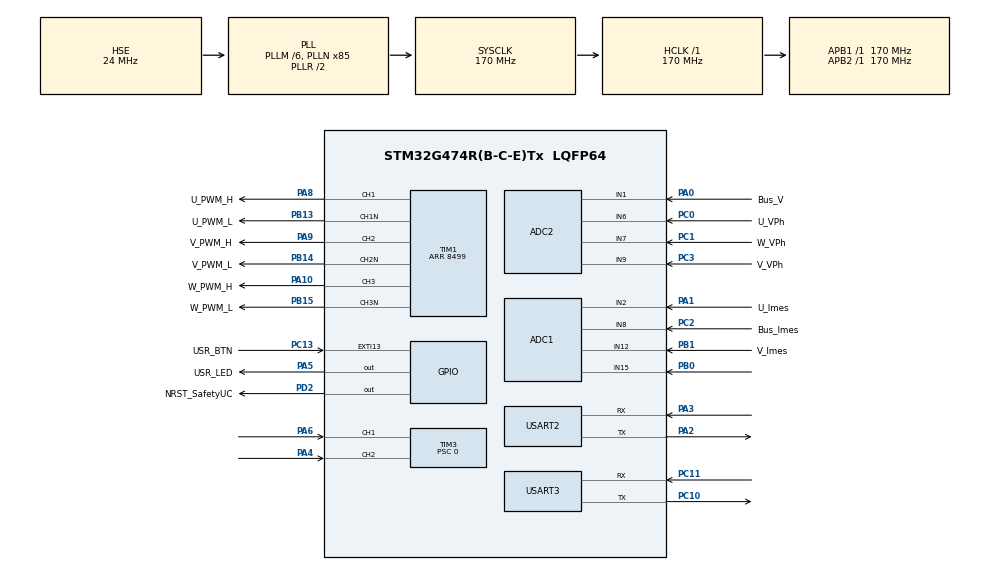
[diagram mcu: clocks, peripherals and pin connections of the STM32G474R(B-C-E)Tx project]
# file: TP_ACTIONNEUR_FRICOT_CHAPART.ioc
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ADC1.Channel-0\#ChannelRegularConversion=ADC_CHANNEL_2
ADC1.Channel-1\#ChannelRegularConversion=ADC_CHANNEL_12
ADC1.Channel-2\#ChannelRegularConversion=ADC_CHANNEL_8
ADC1.ContinuousConvMode=ENABLE
ADC1.DMAContinuousRequests=ENABLE
ADC1.ExternalTrigConv=ADC_EXTERNALTRIG_T1_TRGO
ADC1.NbrOfConversion=3
ADC1.NbrOfConversionFlag=1
ADC1.OffsetNumber-0\#ChannelRegularConversion=ADC_OFFSET_NONE
ADC1.OffsetNumber-1\#ChannelRegularConversion=ADC_OFFSET_NONE
ADC1.OffsetNumber-2\#ChannelRegularConversion=ADC_OFFSET_NONE
ADC1.Rank-0\#ChannelRegularConversion=1
ADC1.Rank-1\#ChannelRegularConversion=2
ADC1.Rank-2\#ChannelRegularConversion=3
ADC1.SamplingTime-0\#ChannelRegularConversion=ADC_SAMPLETIME_640CYCLES_5
ADC1.SamplingTime-1\#ChannelRegularConversion=ADC_SAMPLETIME_640CYCLES_5
ADC1.SamplingTime-2\#ChannelRegularConversion=ADC_SAMPLETIME_640CYCLES_5
ADC1.master=1
ADC2.Channel-0\#ChannelRegularConversion=ADC_CHANNEL_1
ADC2.ContinuousConvMode=ENABLE
ADC2.DMAContinuousRequests=ENABLE
ADC2.ExternalTrigConv=ADC_EXTERNALTRIG_T1_TRGO
ADC2.NbrOfConversion=1
ADC2.NbrOfConversionFlag=1
ADC2.OffsetNumber-0\#ChannelRegularConversion=ADC_OFFSET_NONE
ADC2.Rank-0\#ChannelRegularConversion=1
ADC2.SamplingTime-0\#ChannelRegularConversion=ADC_SAMPLETIME_640CYCLES_5
Dma.ADC1.0.Direction=DMA_PERIPH_TO_MEMORY
Dma.ADC1.0.EventEnable=DISABLE
Dma.ADC1.0.Instance=DMA1_Channel1
Dma.ADC1.0.MemDataAlignment=DMA_MDATAALIGN_HALFWORD
Dma.ADC1.0.MemInc=DMA_MINC_ENABLE
Dma.ADC1.0.Mode=DMA_CIRCULAR
Dma.ADC1.0.PeriphDataAlignment=DMA_PDATAALIGN_HALFWORD
Dma.ADC1.0.PeriphInc=DMA_PINC_DISABLE
Dma.ADC1.0.Polarity=HAL_DMAMUX_REQ_GEN_RISING
Dma.ADC1.0.Priority=DMA_PRIORITY_LOW
Dma.ADC1.0.RequestNumber=1
Dma.ADC1.0.SignalID=NONE
Dma.ADC1.0.SyncEnable=DISABLE
Dma.ADC1.0.SyncPolarity=HAL_DMAMUX_SYNC_NO_EVENT
Dma.ADC1.0.SyncRequestNumber=1
Dma.ADC1.0.SyncSignalID=NONE
Dma.ADC2.1.Direction=DMA_PERIPH_TO_MEMORY
Dma.ADC2.1.EventEnable=DISABLE
Dma.ADC2.1.Instance=DMA1_Channel2
Dma.ADC2.1.MemDataAlignment=DMA_MDATAALIGN_HALFWORD
Dma.ADC2.1.MemInc=DMA_MINC_ENABLE
Dma.ADC2.1.Mode=DMA_CIRCULAR
Dma.ADC2.1.PeriphDataAlignment=DMA_PDATAALIGN_HALFWORD
Dma.ADC2.1.PeriphInc=DMA_PINC_DISABLE
Dma.ADC2.1.Polarity=HAL_DMAMUX_REQ_GEN_RISING
Dma.ADC2.1.Priority=DMA_PRIORITY_LOW
Dma.ADC2.1.RequestNumber=1
Dma.ADC2.1.SignalID=NONE
Dma.ADC2.1.SyncEnable=DISABLE
Dma.ADC2.1.SyncPolarity=HAL_DMAMUX_SYNC_NO_EVENT
Dma.ADC2.1.SyncRequestNumber=1
Dma.ADC2.1.SyncSignalID=NONE
Dma.Request0=ADC1
Dma.Request1=ADC2
Mcu.Family=STM32G4
Mcu.Name=STM32G474R(B-C-E)Tx
Mcu.Package=LQFP64
NVIC.ADC1_2_IRQn=true\:0\:0\:false\:false\:true\:true\:true\:true
NVIC.DMA1_Channel1_IRQn=true\:0\:0\:false\:false\:true\:false\:true\:true
NVIC.DMA1_Channel2_IRQn=true\:0\:0\:false\:false\:true\:false\:true\:true
NVIC.EXTI15_10_IRQn=true\:0\:0\:false\:false\:true\:true\:true\:true
NVIC.PriorityGroup=NVIC_PRIORITYGROUP_4
NVIC.TIM1_TRG_COM_TIM17_IRQn=true\:0\:0\:false\:false\:true\:true\:true\:true
NVIC.TIM1_UP_TIM16_IRQn=true\:0\:0\:false\:false\:true\:true\:true\:true
NVIC.TIM6_DAC_IRQn=true\:15\:0\:false\:false\:true\:false\:true\:true
NVIC.TIM7_DAC_IRQn=true\:0\:0\:false\:false\:true\:true\:true\:true
NVIC.TimeBase=TIM6_DAC_IRQn
NVIC.TimeBaseIP=TIM6
NVIC.USART2_IRQn=true\:0\:0\:false\:false\:true\:true\:true\:true
NVIC.USART3_IRQn=true\:0\:0\:false\:false\:true\:true\:true\:true
PA0.GPIO_Label=Bus_V
PA0.Mode=IN1-Single-Ended
PA0.Signal=ADC2_IN1
PA1.GPIO_Label=U_Imes
PA1.Mode=IN2-Single-Ended
PA1.Signal=ADC1_IN2
PA10.GPIO_Label=W_PWM_H
PA10.Signal=S_TIM1_CH3
PA13.GPIO_Label=T_SWDIO
PA13.Mode=Trace_Asynchronous_SW
PA13.Signal=SYS_JTMS-SWDIO
PA14.GPIO_Label=T_SWCLK
PA14.Mode=Trace_Asynchronous_SW
PA14.Signal=SYS_JTCK-SWCLK
PA2.Mode=Asynchronous
PA2.Signal=USART2_TX
PA3.Mode=Asynchronous
PA3.Signal=USART2_RX
PA4.Signal=S_TIM3_CH2
PA5.GPIO_Label=USR_LED
PA5.Signal=GPIO_Output
PA6.Signal=S_TIM3_CH1
PA8.GPIO_Label=U_PWM_H
PA8.Signal=S_TIM1_CH1
PA9.GPIO_Label=V_PWM_H
PA9.Signal=S_TIM1_CH2
PB0.Mode=IN15-Single-Ended
PB0.Signal=ADC1_IN15
PB1.GPIO_Label=V_Imes
PB1.Mode=IN12-Single-Ended
PB1.Signal=ADC1_IN12
PB13.GPIO_Label=U_PWM_L
PB13.Mode=PWM Generation1 CH1 CH1N
PB13.Signal=TIM1_CH1N
PB14.GPIO_Label=V_PWM_L
PB14.Mode=PWM Generation2 CH2 CH2N
PB14.Signal=TIM1_CH2N
PB15.GPIO_Label=W_PWM_L
PB15.Mode=PWM Generation3 CH3 CH3N
PB15.Signal=TIM1_CH3N
PB3.GPIO_Label=T_SWO
PB3.Mode=Trace_Asynchronous_SW
PB3.Signal=SYS_JTDO-SWO
PC0.GPIO_Label=U_VPh
PC0.Mode=IN6-Single-Ended
PC0.Signal=ADC2_IN6
PC1.GPIO_Label=W_VPh
PC1.Mode=IN7-Single-Ended
PC1.Signal=ADC2_IN7
PC10.Mode=Asynchronous
PC10.Signal=USART3_TX
PC11.Mode=Asynchronous
PC11.Signal=USART3_RX
PC13.GPIO_Label=USR_BTN
PC13.Signal=GPXTI13
PC14-OSC32_IN.Mode=LSE-External-Oscillator
PC14-OSC32_IN.Signal=RCC_OSC32_IN
PC15-OSC32_OUT.Mode=LSE-External-Oscillator
PC15-OSC32_OUT.Signal=RCC_OSC32_OUT
PC2.GPIO_Label=Bus_Imes
PC2.Mode=IN8-Single-Ended
PC2.Signal=ADC1_IN8
PC3.GPIO_Label=V_VPh
PC3.Mode=IN9-Single-Ended
PC3.Signal=ADC2_IN9
PC8.Signal=S_TIM3_CH3
PD2.GPIO_Label=NRST_SafetyUC
PD2.Signal=GPIO_Output
PF0-OSC_IN.Mode=HSE-External-Oscillator
PF0-OSC_IN.Signal=RCC_OSC_IN
PF1-OSC_OUT.Mode=HSE-External-Oscillator
PF1-OSC_OUT.Signal=RCC_OSC_OUT
ProjectManager.HeapSize=0x200
ProjectManager.StackSize=0x400
ProjectManager.TargetToolchain=STM32CubeIDE
RCC.ADC12Freq_Value=170000000
RCC.ADC345Freq_Value=170000000
RCC.AHBFreq_Value=170000000
RCC.APB1Freq_Value=170000000
RCC.APB1TimFreq_Value=170000000
RCC.APB2Freq_Value=170000000
RCC.APB2TimFreq_Value=170000000
RCC.CortexFreq_Value=170000000
RCC.EXTERNAL_CLOCK_VALUE=12288000
RCC.HCLKFreq_Value=170000000
RCC.HSE_VALUE=24000000
RCC.HSI48_VALUE=48000000
RCC.HSI_VALUE=16000000
RCC.PLLM=RCC_PLLM_DIV6
RCC.PLLN=85
RCC.PLLSourceVirtual=RCC_PLLSOURCE_HSE
RCC.RTCClockSelection=RCC_RTCCLKSOURCE_LSE
RCC.SYSCLKFreq_VALUE=170000000
RCC.SYSCLKSource=RCC_SYSCLKSOURCE_PLLCLK
RCC.USBFreq_Value=170000000
RCC.VCOOutputFreq_Value=340000000
SH.S_TIM1_CH1.0=TIM1_CH1,PWM Generation1 CH1 CH1N
SH.S_TIM1_CH2.0=TIM1_CH2,PWM Generation2 CH2 CH2N
SH.S_TIM1_CH3.0=TIM1_CH3,PWM Generation3 CH3 CH3N
SH.S_TIM3_CH1.0=TIM3_CH1,Encoder_Interface
SH.S_TIM3_CH2.0=TIM3_CH2,Encoder_Interface
SH.S_TIM3_CH3.0=TIM3_CH3
TIM1.AsymmetricalDeadTime=DISABLE
TIM1.AutoReloadPreload=TIM_AUTORELOAD_PRELOAD_ENABLE
TIM1.BreakState=TIM_BREAK_DISABLE
TIM1.Channel-PWM\ Generation1\ CH1\ CH1N=TIM_CHANNEL_1
TIM1.Channel-PWM\ Generation2\ CH2\ CH2N=TIM_CHANNEL_2
TIM1.Channel-PWM\ Generation3\ CH3\ CH3N=TIM_CHANNEL_3
TIM1.CounterMode=TIM_COUNTERMODE_CENTERALIGNED1
TIM1.DeadTime=20
TIM1.PeriodNoDither=8499
TIM1.PulseNoDither_1=4249
TIM1.PulseNoDither_2=4249
TIM1.RepetitionCounter=0
TIM1.TIM_MasterOutputTrigger=TIM_TRGO_UPDATE
TIM1.TIM_MasterOutputTrigger2=TIM_TRGO2_UPDATE
TIM16.AutoReloadPreload=TIM_AUTORELOAD_PRELOAD_ENABLE
TIM16.PeriodNoDither=9999
TIM16.Prescaler=1699
TIM3.AutoReloadPreload=TIM_AUTORELOAD_PRELOAD_ENABLE
TIM3.EncoderMode=TIM_ENCODERMODE_TI12
TIM3.PeriodNoDither=65535
TIM3.Prescaler=0
TIM7.PeriodNoDither=999
TIM7.Prescaler=169
TIM7.TIM_MasterOutputTrigger=TIM_TRGO_RESET
USART2.VirtualMode-Asynchronous=VM_ASYNC
USART3.VirtualMode-Asynchronous=VM_ASYNC
VP_SYS_VS_DBSignals.Mode=DisableDeadBatterySignals
VP_SYS_VS_tim6.Mode=TIM6
VP_TIM16_VS_ClockSourceINT.Mode=Enable_Timer
VP_TIM1_VS_ClockSourceINT.Mode=Internal
VP_TIM7_VS_ClockSourceINT.Mode=Enable_Timer
board=NUCLEO-G474RE

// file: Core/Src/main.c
/* USER CODE BEGIN Header */
/**
 ******************************************************************************
 * @file           : main.c
 * @brief          : Main program body
 ******************************************************************************
 * @attention
 *
 * Copyright (c) 2023 STMicroelectronics.
 * All rights reserved.
 *
 * This software is licensed under terms that can be found in the LICENSE file
 * in the root directory of this software component.
 * If no LICENSE file comes with this software, it is provided AS-IS.
 *
 ******************************************************************************
 */
/* USER CODE END Header */
#include "main.h"
#include "adc.h"
#include "dma.h"
#include "tim.h"
#include "usart.h"
#include "gpio.h"

/* USER CODE BEGIN Includes */
#include "mylibs/shell.h"
#include "mylibs/pwm.h"
#include "mylibs/mesure_courant.h"

/* USER CODE END Includes */

/* USER CODE BEGIN PV */
extern PWM_HandleTypeDef pwm_handle;
extern h_shell_t h_shell;

/* USER CODE END PV */

void SystemClock_Config(void);

int main(void)
{

  /* MCU Configuration--------------------------------------------------------*/

  /* Reset of all peripherals, Initializes the Flash interface and the Systick. */
  HAL_Init();

  /* Configure the system clock */
  SystemClock_Config();

  /* Initialize all configured peripherals */
  MX_GPIO_Init();
  MX_DMA_Init();
  MX_ADC2_Init();
  MX_ADC1_Init();
  MX_TIM1_Init();
  MX_TIM3_Init();
  MX_USART2_UART_Init();
  MX_USART3_UART_Init();
  MX_TIM7_Init();
  MX_TIM16_Init();
  /* USER CODE BEGIN 2 */

	Shell_Init(&h_shell);
	ADC_Start();
  /* USER CODE END 2 */

  /* Infinite loop */
  /* USER CODE BEGIN WHILE */
	while (1)
	{
		Shell_Loop(&h_shell);
    /* USER CODE END WHILE */

	}
}

void SystemClock_Config(void)
{
  RCC_OscInitTypeDef RCC_OscInitStruct = {0};
  RCC_ClkInitTypeDef RCC_ClkInitStruct = {0};

  /** Configure the main internal regulator output voltage
  */
  HAL_PWREx_ControlVoltageScaling(PWR_REGULATOR_VOLTAGE_SCALE1_BOOST);

  /** Initializes the RCC Oscillators according to the specified parameters
  * in the RCC_OscInitTypeDef structure.
  */
  RCC_OscInitStruct.OscillatorType = RCC_OSCILLATORTYPE_HSE;
  RCC_OscInitStruct.HSEState = RCC_HSE_ON;
  RCC_OscInitStruct.PLL.PLLState = RCC_PLL_ON;
  RCC_OscInitStruct.PLL.PLLSource = RCC_PLLSOURCE_HSE;
  RCC_OscInitStruct.PLL.PLLM = RCC_PLLM_DIV6;
  RCC_OscInitStruct.PLL.PLLN = 85;
  RCC_OscInitStruct.PLL.PLLP = RCC_PLLP_DIV2;
  RCC_OscInitStruct.PLL.PLLQ = RCC_PLLQ_DIV2;
  RCC_OscInitStruct.PLL.PLLR = RCC_PLLR_DIV2;
  if (HAL_RCC_OscConfig(&RCC_OscInitStruct) != HAL_OK)
  {
    Error_Handler();
  }

  /** Initializes the CPU, AHB and APB buses clocks
  */
  RCC_ClkInitStruct.ClockType = RCC_CLOCKTYPE_HCLK|RCC_CLOCKTYPE_SYSCLK
                              |RCC_CLOCKTYPE_PCLK1|RCC_CLOCKTYPE_PCLK2;
  RCC_ClkInitStruct.SYSCLKSource = RCC_SYSCLKSOURCE_PLLCLK;
  RCC_ClkInitStruct.AHBCLKDivider = RCC_SYSCLK_DIV1;
  RCC_ClkInitStruct.APB1CLKDivider = RCC_HCLK_DIV1;
  RCC_ClkInitStruct.APB2CLKDivider = RCC_HCLK_DIV1;

  if (HAL_RCC_ClockConfig(&RCC_ClkInitStruct, FLASH_LATENCY_4) != HAL_OK)
  {
    Error_Handler();
  }
}

void HAL_TIM_PeriodElapsedCallback(TIM_HandleTypeDef *htim)
{
  if (htim->Instance == TIM6) {
    HAL_IncTick();
  }
  /* USER CODE BEGIN Callback 1 */
	/* USER CODE BEGIN Callback 1 */
	if (htim->Instance == TIM7)
	{
		if(pwm_handle.interrupt_counter < RAMP_TIME - 1) //on update la valeur de pulse chaque miliseconde
		{
			pwm_handle.intermediate_pulse1 = pwm_handle.previous_pulse1 + (pwm_handle.pulse1 - pwm_handle.previous_pulse1)  * (pwm_handle.interrupt_counter+1)/RAMP_TIME ;
			pwm_handle.intermediate_pulse2 = pwm_handle.previous_pulse2 + (pwm_handle.pulse2 - pwm_handle.previous_pulse2)  * (pwm_handle.interrupt_counter+1)/RAMP_TIME ;

			__HAL_TIM_SET_COMPARE(&htim1, TIM_CHANNEL_1,pwm_handle.intermediate_pulse1);
			__HAL_TIM_SET_COMPARE(&htim1, TIM_CHANNEL_2,pwm_handle.intermediate_pulse2);

			pwm_handle.interrupt_counter++;
		}
	}

    if (htim == &htim16) { //on lance le calcul de vitesse toutes les secondes
        calculate_motor_speed();

    }
  /* USER CODE END Callback 1 */
}

void Error_Handler(void)
{
	__disable_irq();
	while (1)
	{
	}
}
